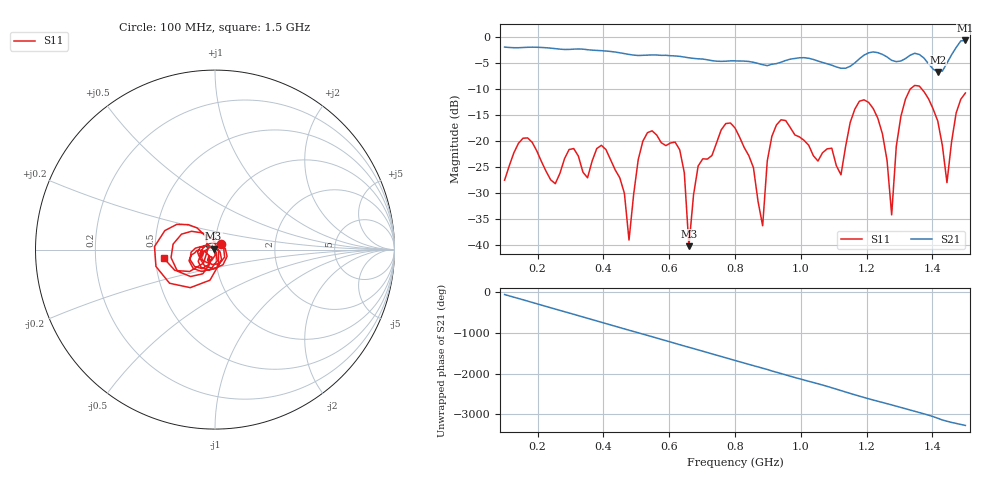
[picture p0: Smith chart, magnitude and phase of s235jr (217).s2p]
! NanoVNA-App
! Date: 2025-09-25 15:05:51
! Start: 100MHz Stop: 1,5GHz Points: 101
! S-Parameter data: F S11 S21 S12 S22
# Hz S RI R 50
!  Frequency  S11_Real  S11_Imag  S21_Real  S21_Imag  S12_Real  S12_Imag  S22_Real  S22_Imag
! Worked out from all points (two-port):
!   101 points, 100 MHz to 1.5 GHz, reference 50 ohm
!   highest |S21| = -0.69 dB at 1.5 GHz (marker M1); lowest = -6.7 dB at 1.416 GHz (marker M2)
!   |S21| within 3 dB of the highest: start of sweep to 623.8 MHz; 1.188 GHz to 1.257 GHz (69.06 MHz wide, 5.65 % of centre) (the widest 2 of 4)
!   lowest |S11| = -40.1 dB at 660 MHz (marker M3), VSWR 1.02, Z = 49.2 + j0.54 ohm
!   |S11| at or under -10 dB: start of sweep to 1.333 GHz; 1.367 GHz to end of sweep
!   S12 and S22 are empty: the file has one direction only
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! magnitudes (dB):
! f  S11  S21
! 100 MHz  -27.5  -2.0
! 156 MHz  -19.4  -2.0
! 338 MHz  -25.9  -2.4
! 408 MHz  -21.6  -2.7
! 478 MHz  -39.0  -3.4
! 520 MHz  -20.0  -3.5
! 576 MHz  -20.3  -3.5
! 632 MHz  -21.6  -3.7
! 660 MHz  -40.1  -4.0
! 688 MHz  -24.8  -4.2
! 800 MHz  -17.5  -4.6
! 884 MHz  -36.2  -5.3
! 926 MHz  -16.9  -5.1
! 1.038 GHz  -22.8  -4.3
! 1.122 GHz  -26.4  -6.0
! 1.206 GHz  -12.6  -3.1
! 1.276 GHz  -34.1  -4.5
! 1.29 GHz  -21.0  -4.8
! 1.332 GHz  -10.0  -3.5
! 1.416 GHz  -16.1  -6.7
! 1.444 GHz  -27.9  -5.0
! 1.5 GHz  -10.8  -0.7
